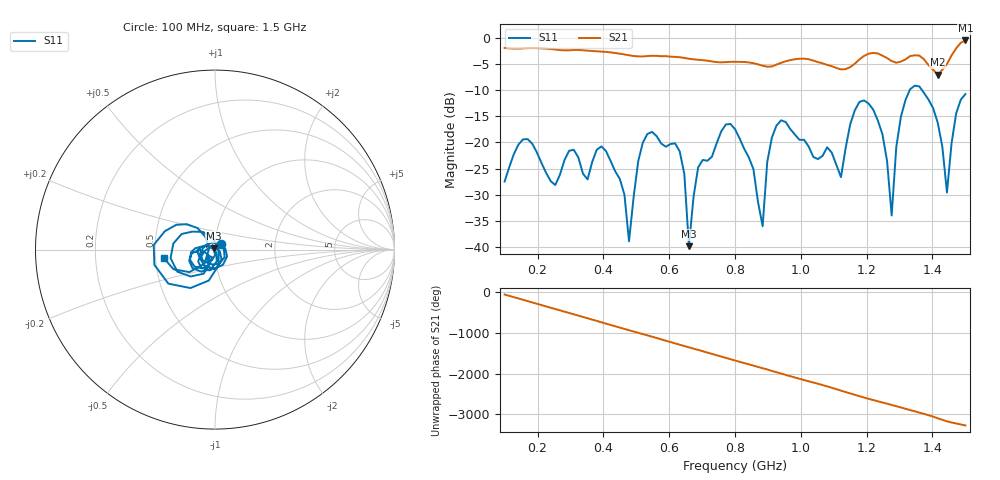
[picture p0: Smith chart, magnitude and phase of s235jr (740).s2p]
! NanoVNA-App
! Date: 2025-09-25 15:09:56
! Start: 100MHz Stop: 1,5GHz Points: 101
! S-Parameter data: F S11 S21 S12 S22
# Hz S RI R 50
!  Frequency  S11_Real  S11_Imag  S21_Real  S21_Imag  S12_Real  S12_Imag  S22_Real  S22_Imag
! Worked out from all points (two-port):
!   101 points, 100 MHz to 1.5 GHz, reference 50 ohm
!   highest |S21| = -0.53 dB at 1.5 GHz (marker M1); lowest = -7.0 dB at 1.416 GHz (marker M2)
!   |S21| within 3 dB of the highest: start of sweep to 498 MHz; 1.191 GHz to 1.251 GHz (60.1 MHz wide, 4.92 % of centre) (the widest 2 of 6)
!   lowest |S11| = -39.8 dB at 660 MHz (marker M3), VSWR 1.02, Z = 49.2 + j0.624 ohm
!   |S11| at or under -10 dB: start of sweep to 1.331 GHz; 1.368 GHz to end of sweep
!   S12 and S22 are empty: the file has one direction only
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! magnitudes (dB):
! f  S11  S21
! 100 MHz  -27.5  -2.0
! 156 MHz  -19.4  -2.0
! 338 MHz  -26.0  -2.4
! 408 MHz  -21.6  -2.7
! 478 MHz  -38.9  -3.4
! 520 MHz  -20.0  -3.6
! 576 MHz  -20.2  -3.5
! 632 MHz  -21.7  -3.7
! 660 MHz  -39.8  -4.0
! 688 MHz  -24.8  -4.2
! 800 MHz  -17.5  -4.6
! 884 MHz  -36.0  -5.4
! 926 MHz  -16.8  -5.1
! 1.038 GHz  -22.8  -4.4
! 1.122 GHz  -26.6  -6.1
! 1.206 GHz  -12.6  -3.1
! 1.276 GHz  -33.9  -4.5
! 1.29 GHz  -20.9  -4.8
! 1.332 GHz  -9.9  -3.5
! 1.416 GHz  -16.2  -7.0
! 1.444 GHz  -29.6  -5.0
! 1.5 GHz  -10.8  -0.5
